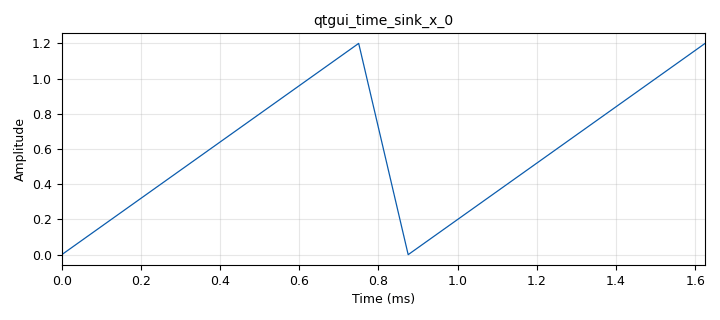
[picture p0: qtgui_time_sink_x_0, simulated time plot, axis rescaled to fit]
options:
  parameters:
    catch_exceptions: 'False'
    generate_options: qt_gui
    id: PF_2019
    output_language: python
    realtime_scheduling: '1'
    title: Sampling por encima de uno
  states: {}

blocks:
- name: Frecuencia
  id: variable_qtgui_range
  parameters:
    gui_hint: 0,4,1,2
    label: 'Frecuencia [Hz]: '
    start: '100'
    step: '100'
    stop: '8000'
    value: '1000'
  states: {}
- name: samp_rate
  id: variable
  parameters:
    value: '8000'
  states: {}
- name: samp_rate_qtgui_label
  id: variable_qtgui_label
  parameters:
    gui_hint: 0,0,1,2
    label: 'Sample rate [m/Sg.]: '
    type: int
    value: samp_rate
  states: {}
- name: valor
  id: variable_qtgui_range
  parameters:
    gui_hint: 0,2,1,2
    label: 'Amplitud: '
    start: '0'
    step: '0.1'
    stop: '2'
    value: '0.8'
  states: {}
- name: blocks_vector_source_x_0
  id: blocks_vector_source_x
  parameters:
    repeat: 'False'
    type: float
    vector: (0,0.2, 0.4, 0.6,0.8,1,1.2,0,0.2, 0.4, 0.6,0.8,1,1.2)
  states: {}
- name: qtgui_time_sink_x_0
  id: qtgui_time_sink_x
  parameters:
    ctrlpanel: 'True'
    gui_hint: 1,0,6,7
    size: '1024'
    srate: samp_rate
    tr_mode: qtgui.TRIG_MODE_NORM
    type: float
  states: {}
- name: serializer_serializer_0
  id: serializer_serializer
  parameters:
    board: 'True'
    device: /dev/ttyUSB1
    mode: data
    samp_rate: samp_rate
  states: {}

connections:
- [blocks_vector_source_x_0, '0', qtgui_time_sink_x_0, '0']
- [blocks_vector_source_x_0, '0', serializer_serializer_0, '0']

metadata:
  file_format: 1
